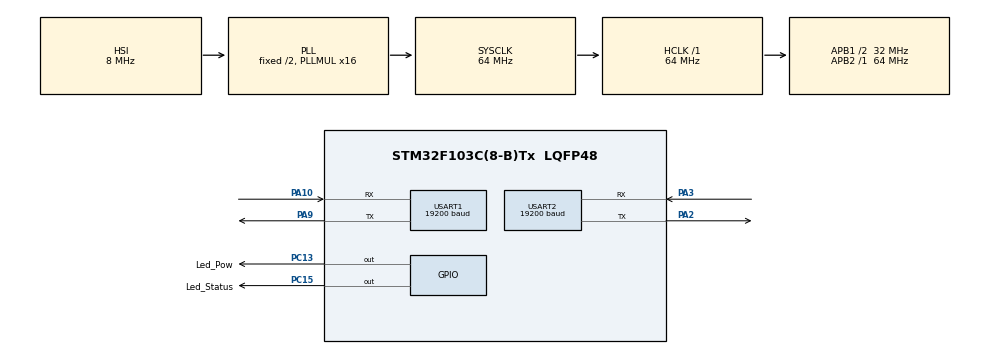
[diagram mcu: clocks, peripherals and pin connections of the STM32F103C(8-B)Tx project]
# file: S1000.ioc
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Mcu.Family=STM32F1
Mcu.Name=STM32F103C(8-B)Tx
Mcu.Package=LQFP48
NVIC.PriorityGroup=NVIC_PRIORITYGROUP_4
NVIC.TIM4_IRQn=true\:0\:0\:false\:false\:true\:true\:true
NVIC.USART1_IRQn=true\:0\:0\:false\:false\:true\:true\:true
PA10.Mode=Asynchronous
PA10.Signal=USART1_RX
PA13.Mode=Serial_Wire
PA13.Signal=SYS_JTMS-SWDIO
PA14.Mode=Serial_Wire
PA14.Signal=SYS_JTCK-SWCLK
PA2.Mode=Asynchronous
PA2.Signal=USART2_TX
PA3.Mode=Asynchronous
PA3.Signal=USART2_RX
PA9.Mode=Asynchronous
PA9.Signal=USART1_TX
PC13-TAMPER-RTC.GPIO_Label=Led_Pow
PC13-TAMPER-RTC.GPIO_ModeDefaultOutputPP=GPIO_MODE_OUTPUT_OD
PC13-TAMPER-RTC.GPIO_PuPd=GPIO_NOPULL
PC13-TAMPER-RTC.PinState=GPIO_PIN_RESET
PC13-TAMPER-RTC.Signal=GPIO_Output
PC15-OSC32_OUT.GPIO_Label=Led_Status
PC15-OSC32_OUT.Signal=GPIO_Output
ProjectManager.HeapSize=0x200
ProjectManager.StackSize=0x400
ProjectManager.TargetToolchain=MDK-ARM V5.32
RCC.AHBFreq_Value=64000000
RCC.APB1CLKDivider=RCC_HCLK_DIV2
RCC.APB1Freq_Value=32000000
RCC.APB1TimFreq_Value=64000000
RCC.APB2Freq_Value=64000000
RCC.APB2TimFreq_Value=64000000
RCC.HCLKFreq_Value=64000000
RCC.PLLMUL=RCC_PLL_MUL16
RCC.SYSCLKFreq_VALUE=64000000
RCC.SYSCLKSource=RCC_SYSCLKSOURCE_PLLCLK
RCC.USBFreq_Value=64000000
TIM4.Period=999
TIM4.Prescaler=64
USART1.BaudRate=19200
USART1.VirtualMode=VM_ASYNC
USART2.BaudRate=19200
USART2.VirtualMode=VM_ASYNC
VP_TIM4_VS_ClockSourceINT.Mode=Internal
board=custom

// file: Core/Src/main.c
/* USER CODE BEGIN Header */
/**
  ******************************************************************************
  * @file           : main.c
  * @brief          : Main program body
  ******************************************************************************
  * @attention
  *
  * <h2><center>&copy; Copyright (c) 2022 STMicroelectronics.
  * All rights reserved.</center></h2>
  *
  * This software component is licensed by ST under BSD 3-Clause license,
  * the "License"; You may not use this file except in compliance with the
  * License. You may obtain a copy of the License at:
  *                        opensource.org/licenses/BSD-3-Clause
  *
  ******************************************************************************
  */
/* USER CODE END Header */
#include "main.h"

/* USER CODE BEGIN Includes */
#include "string.h"
#include "stdio.h"
#include "stdlib.h"
/* USER CODE END Includes */

/* USER CODE BEGIN PTD */

/* Begin interrupt UART1 */
uint8_t rev_data;
uint8_t buffer_modbus[8];
//uint8_t modbus_index = 0;
uint8_t flag_modbus = 0;
//uint8_t flag_crc = 0;
uint8_t Pow_ms;
uint8_t Stt_ms;
/* End interrupt UART1 */
/* Begin frame Modbus RTU */
#define ID_S1000 0x01
#define Function_RO 0x01
#define Function_WO 0x02
#define Function_RW 0x03
#define NoUse 0x00
#define Add_Volt_Solar 0x0001
#define Add_Volt_SAcquy 0x0002
#define Add_Volt_Wacquy 0x0003
#define Add_Ampe_Solar 0x0004
#define Add_Ampe_Sacquy 0x0005
#define Add_Ampe_Wacquy 0x0006
#define Add_Wat_Solar 0x0007
#define Add_Wat_Sacquy 0x0008
#define Add_Wat_Wacquy 0x0009
#define Add_Wat_S1000 0x00A1
#define Add_Wat_W1000 0x00A2
#define Add_Lever_Sensor 0x00A3
#define Add_Temp_Sensor 0x00A4
#define Add_Press_Senser 0x00A5
#define Add_Control_Load 0x0001
#define Add_Charging_Mode 0x0002
#define Add_Brake_Turbin 0x0003
#define Data_Reg_Fixed 0x0001
#define Data_Reg_OFF 0x0001
#define Date_Reg_ON 0x0002

typedef struct{
	uint8_t Add_ID;
	uint8_t Function_code;
	uint8_t MSB_AddReg;
	uint8_t LSB_AddReg;
	uint8_t MSB_DataReg;
	uint8_t LSB_DataReg;
	uint16_t AddRreg;
	uint16_t DataReg;
}ModbusRTU_STRUCT;
ModbusRTU_STRUCT ModbusRTU;

typedef struct{
	uint8_t data_Volt_Solar;
	uint8_t data_Volt_SAcquy;
	uint8_t data_Volt_Wacquy;
	uint8_t data_Ampe_Solar;
	uint8_t data_Ampe_Sacquy;
	uint8_t data_Ampe_Wacquy;
	uint8_t data_Wat_Solar;
	uint8_t data_Wat_Sacquy;
	uint8_t data_Wat_Wacquy;
	uint8_t data_Wat_S1000;
	uint8_t data_Wat_W1000;
	uint8_t data_Lever_Sensor;
	uint8_t data_Temp_Sensor;
	uint8_t data_Press_Senser;
}ADC_STRUCT;
ADC_STRUCT value_adc;

/* End frame Modbus RTU */
/* USER CODE END PTD */

TIM_HandleTypeDef htim4;

UART_HandleTypeDef huart1;
UART_HandleTypeDef huart2;

void SystemClock_Config(void);
static void MX_GPIO_Init(void);
static void MX_TIM4_Init(void);
static void MX_USART1_UART_Init(void);
static void MX_USART2_UART_Init(void);
/* USER CODE BEGIN PFP */
static void check_crc(void);
void Write_Mobus_RTU(uint8_t byte_ID, uint8_t byte_func, uint16_t byte_addReg, uint16_t byte_dataReg);
static void Clear_Modbus(void);
static void Read_ADC(void);

/* USER CODE END PFP */

int main(void)
{

  /* MCU Configuration--------------------------------------------------------*/

  /* Reset of all peripherals, Initializes the Flash interface and the Systick. */
  HAL_Init();

  /* Configure the system clock */
  SystemClock_Config();

  /* Initialize all configured peripherals */
  MX_GPIO_Init();
  MX_TIM4_Init();
  MX_USART1_UART_Init();
  MX_USART2_UART_Init();
  /* USER CODE BEGIN 2 */
  HAL_TIM_Base_Start_IT(&htim4);
  HAL_UART_Receive_IT(&huart1,&rev_data,1);
  HAL_GPIO_WritePin(Led_Pow_GPIO_Port,Led_Pow_Pin,GPIO_PIN_RESET);
  HAL_GPIO_WritePin(Led_Status_GPIO_Port,Led_Status_Pin,GPIO_PIN_SET);
  HAL_Delay(1000);
//  Write_Mobus_RTU(ID_S1000,Function_RO,Add_Ampe_Sacquy,Data_Reg_Fixed);
  /* USER CODE END 2 */

  /* Infinite loop */
  /* USER CODE BEGIN WHILE */
  while (1)
  {
	  Read_ADC();
	  check_crc();
	  switch(ModbusRTU.Function_code)
	  {
		  case 0x01: // read only
			  if(ModbusRTU.Add_ID == 0xAA)
			  {
				  HAL_Delay(1);
				  uint16_t add_id = ID_S1000 << 8;
				  Write_Mobus_RTU(ModbusRTU.Add_ID,Function_RO,add_id,0x0000); // S-1000

				  Clear_Modbus();
			  }
			  break;
		  case 0x02: // write only
			  break;
		  case 0x03: // read write
			  break;
		  default:
			  break;
	  }

	  /* USER CODE END WHILE */

  }
}

void SystemClock_Config(void)
{
  RCC_OscInitTypeDef RCC_OscInitStruct = {0};
  RCC_ClkInitTypeDef RCC_ClkInitStruct = {0};

  /** Initializes the RCC Oscillators according to the specified parameters
  * in the RCC_OscInitTypeDef structure.
  */
  RCC_OscInitStruct.OscillatorType = RCC_OSCILLATORTYPE_HSI;
  RCC_OscInitStruct.HSIState = RCC_HSI_ON;
  RCC_OscInitStruct.HSICalibrationValue = RCC_HSICALIBRATION_DEFAULT;
  RCC_OscInitStruct.PLL.PLLState = RCC_PLL_ON;
  RCC_OscInitStruct.PLL.PLLSource = RCC_PLLSOURCE_HSI_DIV2;
  RCC_OscInitStruct.PLL.PLLMUL = RCC_PLL_MUL16;
  if (HAL_RCC_OscConfig(&RCC_OscInitStruct) != HAL_OK)
  {
    Error_Handler();
  }
  /** Initializes the CPU, AHB and APB buses clocks
  */
  RCC_ClkInitStruct.ClockType = RCC_CLOCKTYPE_HCLK|RCC_CLOCKTYPE_SYSCLK
                              |RCC_CLOCKTYPE_PCLK1|RCC_CLOCKTYPE_PCLK2;
  RCC_ClkInitStruct.SYSCLKSource = RCC_SYSCLKSOURCE_PLLCLK;
  RCC_ClkInitStruct.AHBCLKDivider = RCC_SYSCLK_DIV1;
  RCC_ClkInitStruct.APB1CLKDivider = RCC_HCLK_DIV2;
  RCC_ClkInitStruct.APB2CLKDivider = RCC_HCLK_DIV1;

  if (HAL_RCC_ClockConfig(&RCC_ClkInitStruct, FLASH_LATENCY_2) != HAL_OK)
  {
    Error_Handler();
  }
}

static void MX_TIM4_Init(void)
{

  TIM_ClockConfigTypeDef sClockSourceConfig = {0};
  TIM_MasterConfigTypeDef sMasterConfig = {0};

  htim4.Instance = TIM4;
  htim4.Init.Prescaler = 64;
  htim4.Init.CounterMode = TIM_COUNTERMODE_UP;
  htim4.Init.Period = 999;
  htim4.Init.ClockDivision = TIM_CLOCKDIVISION_DIV1;
  htim4.Init.AutoReloadPreload = TIM_AUTORELOAD_PRELOAD_DISABLE;
  if (HAL_TIM_Base_Init(&htim4) != HAL_OK)
  {
    Error_Handler();
  }
  sClockSourceConfig.ClockSource = TIM_CLOCKSOURCE_INTERNAL;
  if (HAL_TIM_ConfigClockSource(&htim4, &sClockSourceConfig) != HAL_OK)
  {
    Error_Handler();
  }
  sMasterConfig.MasterOutputTrigger = TIM_TRGO_RESET;
  sMasterConfig.MasterSlaveMode = TIM_MASTERSLAVEMODE_DISABLE;
  if (HAL_TIMEx_MasterConfigSynchronization(&htim4, &sMasterConfig) != HAL_OK)
  {
    Error_Handler();
  }

}

static void MX_USART1_UART_Init(void)
{

  huart1.Instance = USART1;
  huart1.Init.BaudRate = 19200;
  huart1.Init.WordLength = UART_WORDLENGTH_8B;
  huart1.Init.StopBits = UART_STOPBITS_1;
  huart1.Init.Parity = UART_PARITY_NONE;
  huart1.Init.Mode = UART_MODE_TX_RX;
  huart1.Init.HwFlowCtl = UART_HWCONTROL_NONE;
  huart1.Init.OverSampling = UART_OVERSAMPLING_16;
  if (HAL_UART_Init(&huart1) != HAL_OK)
  {
    Error_Handler();
  }

}

static void MX_USART2_UART_Init(void)
{

  huart2.Instance = USART2;
  huart2.Init.BaudRate = 19200;
  huart2.Init.WordLength = UART_WORDLENGTH_8B;
  huart2.Init.StopBits = UART_STOPBITS_1;
  huart2.Init.Parity = UART_PARITY_NONE;
  huart2.Init.Mode = UART_MODE_TX_RX;
  huart2.Init.HwFlowCtl = UART_HWCONTROL_NONE;
  huart2.Init.OverSampling = UART_OVERSAMPLING_16;
  if (HAL_UART_Init(&huart2) != HAL_OK)
  {
    Error_Handler();
  }

}

static void MX_GPIO_Init(void)
{
  GPIO_InitTypeDef GPIO_InitStruct = {0};

  /* GPIO Ports Clock Enable */
  __HAL_RCC_GPIOC_CLK_ENABLE();
  __HAL_RCC_GPIOA_CLK_ENABLE();

  /*Configure GPIO pin Output Level */
  HAL_GPIO_WritePin(GPIOC, Led_Pow_Pin|Led_Status_Pin, GPIO_PIN_RESET);

  /*Configure GPIO pin : Led_Pow_Pin */
  GPIO_InitStruct.Pin = Led_Pow_Pin;
  GPIO_InitStruct.Mode = GPIO_MODE_OUTPUT_OD;
  GPIO_InitStruct.Pull = GPIO_NOPULL;
  GPIO_InitStruct.Speed = GPIO_SPEED_FREQ_LOW;
  HAL_GPIO_Init(Led_Pow_GPIO_Port, &GPIO_InitStruct);

  /*Configure GPIO pin : Led_Status_Pin */
  GPIO_InitStruct.Pin = Led_Status_Pin;
  GPIO_InitStruct.Mode = GPIO_MODE_OUTPUT_PP;
  GPIO_InitStruct.Pull = GPIO_NOPULL;
  GPIO_InitStruct.Speed = GPIO_SPEED_FREQ_LOW;
  HAL_GPIO_Init(Led_Status_GPIO_Port, &GPIO_InitStruct);

}

/* USER CODE BEGIN 4 */
static void Clear_Modbus(void)
{
	ModbusRTU.Add_ID = NULL;
	ModbusRTU.Function_code = NULL;
	ModbusRTU.MSB_AddReg = NULL;
	ModbusRTU.LSB_AddReg = NULL;
	ModbusRTU.MSB_DataReg = NULL;
	ModbusRTU.LSB_DataReg = NULL;
	ModbusRTU.AddRreg = NULL;
	ModbusRTU.DataReg =NULL;
}
static void check_crc(void)
{
	uint8_t _crc[1];
	uint8_t _code_error[1] = {0xA2};
	switch(flag_modbus)
	{
		case 0:
			// nothing
			break;
		case 1:
			// check sum
//			HAL_UART_Transmit(&huart1,buffer_modbus,sizeof(buffer_modbus),100);
			_crc[0] = buffer_modbus[0] + buffer_modbus[1] + buffer_modbus[2] + buffer_modbus[3] + buffer_modbus[4] + buffer_modbus[5];
//		    HAL_UART_Transmit(&huart1,check_crc,sizeof(check_crc),100);
			if(_crc[0] == buffer_modbus[6])
			{
				ModbusRTU.Add_ID = buffer_modbus[0];
				ModbusRTU.Function_code = buffer_modbus[1];
				ModbusRTU.MSB_AddReg = buffer_modbus[2];
				ModbusRTU.LSB_AddReg = buffer_modbus[3];
				ModbusRTU.MSB_DataReg = buffer_modbus[4];
				ModbusRTU.LSB_DataReg = buffer_modbus[5];
				ModbusRTU.AddRreg = ModbusRTU.MSB_AddReg << 8 | ModbusRTU.LSB_AddReg;
				ModbusRTU.DataReg = ModbusRTU.MSB_DataReg << 8 | ModbusRTU.LSB_DataReg;
				_crc[0] =NULL;
			}
//			strcpy
			else /* if(check_crc[0] != buffer_modbus[6])*/
			{
				HAL_UART_Transmit(&huart1,_code_error,sizeof(_code_error),100);
//				status_blynk();
//				Stt_ms = 1;
			}
			flag_modbus = 0;
			Stt_ms = 1;
			for(int i=0;i<=8;i++)
				buffer_modbus[i]=NULL;
			break;
		default:
			break;
	}
}
void Write_Mobus_RTU(uint8_t byte_ID, uint8_t byte_func, uint16_t byte_addReg, uint16_t byte_dataReg)
{
	uint8_t Add_MSB = byte_addReg >> 8;
	uint8_t Add_LSB = byte_addReg;
	uint8_t data_MSB = byte_dataReg >> 8;
	uint8_t data_LSB = byte_dataReg;
	uint8_t byte_crc = byte_ID+byte_func+Add_MSB+Add_LSB+data_MSB+data_LSB;
	uint8_t byte_start = 0x3A;
	uint8_t byte_stop[2] = {0x0D,0x0A};
	uint8_t Write_Modbus[11] = {byte_start,byte_ID,byte_func,Add_MSB,Add_LSB,data_MSB,data_LSB,byte_crc,byte_stop[0],byte_stop[1]};
	HAL_UART_Transmit(&huart1,Write_Modbus,sizeof(Write_Modbus),1000);
	for(int i=0;i<=11;i++)Write_Modbus[i]=NULL;
}

static void Read_ADC(void)
{
	value_adc.data_Ampe_Sacquy = 25; // I = 25A
	value_adc.data_Ampe_Solar = 26;
	value_adc.data_Ampe_Wacquy = 27;
	value_adc.data_Lever_Sensor = 1;
	value_adc.data_Press_Senser = 1;
	value_adc.data_Temp_Sensor = 1;
	value_adc.data_Volt_SAcquy = 27;
	value_adc.data_Volt_Solar = 35;
}
/* USER CODE END 4 */

void Error_Handler(void)
{
  __disable_irq();
  while (1)
  {
  }
}

/************************ (C) COPYRIGHT STMicroelectronics *****END OF FILE****/
